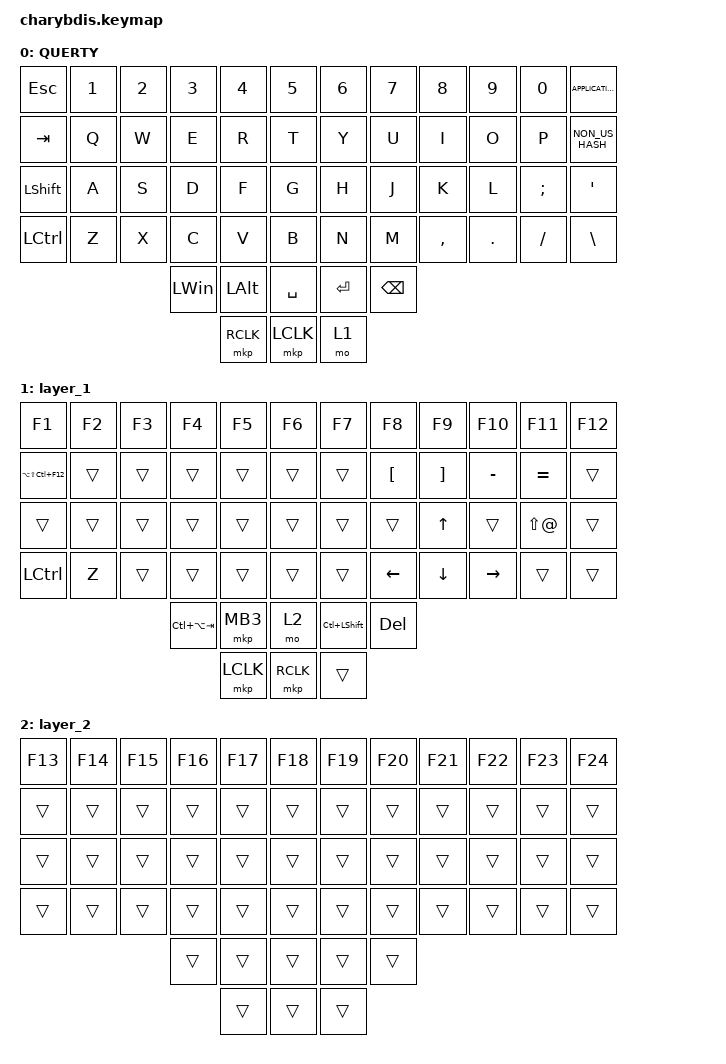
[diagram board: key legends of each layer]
#include "keys_de_swiss.h"
#include <dt-bindings/zmk/mouse.h>
#include <behaviors/mouse_keys.dtsi>
#include <behaviors.dtsi>
#include <dt-bindings/zmk/keys.h>
#include <dt-bindings/zmk/pointing.h>

// / {
//     chosen { zmk,matrix_transform = &default_transform; };
// };

/ {
    /* input config for mouse move mode */

    trackball_listener {
        compatible = "zmk,input-behavior-listener";
        device = <&vtrackball>;
        layers = <0 3 6>;
        evt-type = <INPUT_EV_REL>;
        x-input-code = <INPUT_REL_X>;
        y-input-code = <INPUT_REL_Y>;
        scale-multiplier = <1>;
        scale-divisor = <2>;

        // bindings = <&ib_toggle_layer 7>;
    };

    /* input config for snipe mode */

    trackball_snipe_listener {
        compatible = "zmk,input-behavior-listener";
        device = <&vtrackball>;
        layers = <10>;
        evt-type = <INPUT_EV_REL>;
        x-input-code = <INPUT_REL_X>;
        y-input-code = <INPUT_REL_Y>;
        scale-multiplier = <1>;
        scale-divisor = <4>;
    };

    /* input config for mouse scroll mode */

    trackball_scroll_listener {
        compatible = "zmk,input-behavior-listener";
        device = <&vtrackball>;
        layers = <9>;
        evt-type = <INPUT_EV_REL>;
        x-input-code = <INPUT_REL_MISC>;
        y-input-code = <INPUT_REL_WHEEL>;
        y-invert;
        bindings = <&ib_wheel_scaler 1 14>;
    };

    /* define a resolution down scaler only for INPUT_REL_WHEEL */

    ib_wheel_scaler: ib_wheel_scaler {
        compatible = "zmk,input-behavior-scaler";
        #binding-cells = <2>;
        evt-type = <INPUT_EV_REL>;
        input-code = <INPUT_REL_WHEEL>;
    };

    /* adjust cooldown waiting period for mouse key layer after activated */

    ib_toggle_layer: ib_toggle_layer {
        compatible = "zmk,input-behavior-tog-layer";
        #binding-cells = <1>;
        time-to-live-ms = <750>;
    };

    // #define QUERTZ    0
    // #define NUMBERS   1
    // #define NAV-FUN   2
    // #define MAC       3
    // #define MAC-NUM   4
    // #define MAC-NAV   5
    // #define GAME      6
    // #define GAME-NUM  7
    // #define GAME-NAV  8
    // #define SCROLL    9
    // #define SNIPER   10
    // #define FN       11

    combos {
        compatible = "zmk,combos";

        to-WIN {
            bindings = <&to 0>;
            key-positions = <50 51>;
        };

        to-MAC {
            bindings = <&to 0>;
            key-positions = <50 51>;
            layers = <0>;
        };

        to-GAME {
            bindings = <&to 0>;
            key-positions = <47 36>;
            layers = <0>;
        };

        to-FN {
            bindings = <&to 0>;
            key-positions = <41 42>;
            layers = <0>;
        };

        caps_word {
            bindings = <&caps_word>;
            key-positions = <31 28>;
        };

        rh_leftClick {
            bindings = <&mkp LCLK>;
            key-positions = <43 44>;
        };

        rh_rightClick {
            bindings = <&mkp RCLK>;
            key-positions = <44 45>;
        };

        rh_middleClick {
            bindings = <&mkp MCLK>;
            key-positions = <44 45 43>;
        };

        lh_leftClick {
            bindings = <&mkp LCLK>;
            key-positions = <40 39>;
        };

        lh_rightClick {
            bindings = <&mkp RCLK>;
            key-positions = <38 39>;
        };

        lh_middleClick {
            bindings = <&mkp MCLK>;
            key-positions = <38 39 40>;
        };

        CAPZ {
            bindings = <&kp CAPSLOCK>;
            key-positions = <24 25>;
        };
    };

    behaviors {
        hmr: hmr {
            compatible = "zmk,behavior-hold-tap";
            label = "HMR";
            bindings = <&kp>, <&kp>;

            #binding-cells = <2>;
            tapping-term-ms = <190>;
            quick-tap-ms = <175>;
            flavor = "balanced";
            hold-trigger-key-positions = <0 1 2 3 4 5 12 13 14 15 16 17 24 25 26 27 28 29 36 37 38 39 40 41 48 49 50 53 54 51 52 55>;
            hold-trigger-on-release;
        };

        hml: hml {
            compatible = "zmk,behavior-hold-tap";
            label = "HML";
            bindings = <&kp>, <&kp>;

            #binding-cells = <2>;
            tapping-term-ms = <190>;
            quick-tap-ms = <175>;
            flavor = "balanced";
            hold-trigger-key-positions = <48 49 50 53 54 51 52 55 6 7 8 9 10 11 18 19 20 21 22 23 30 31 32 33 34 35 42 43 44 45 46 47 51 52>;
            hold-trigger-on-release;
        };
    };

    keymap {
        compatible = "zmk,keymap";

        default_win_layer {
            bindings = <
&kp ESCAPE  &kp N1  &kp N2  &kp N3        &kp N4        &kp N5       &kp N6     &kp N7    &kp N8     &kp N9   &kp N0    &kp K_APPLICATION
&kp TAB     &kp Q   &kp W   &kp E         &kp R         &kp T        &kp Y      &kp U     &kp I      &kp O    &kp P     &kp NON_US_HASH
&kp LSHFT   &kp A   &kp S   &kp D         &kp F         &kp G        &kp H      &kp J     &kp K      &kp L    &kp SEMI  &kp SQT
&kp LCTRL   &kp Z   &kp X   &kp C         &kp V         &kp B        &kp N      &kp M     &kp COMMA  &kp DOT  &kp FSLH  &kp BSLH
                            &kp LEFT_WIN  &kp LEFT_ALT  &kp SPACE    &kp ENTER  &kp BSPC
                                          &mkp RCLK     &mkp LCLK    &mo 1
            >;

            label = "QUERTY";
        };

        layer_1 {
            bindings = <
&kp F1               &kp F2  &kp F3  &kp F4           &kp F5     &kp F6       &kp F7              &kp F8      &kp F9    &kp F10    &kp F11     &kp F12
&kp LA(LS(LC(F12)))  &trans  &trans  &trans           &trans     &trans       &trans              &kp LBKT    &kp RBKT  &kp MINUS  &kp EQUAL   &trans
&trans               &trans  &trans  &trans           &trans     &trans       &trans              &trans      &kp UP    &trans     &kp LS(AT)  &trans
&kp LCTRL            &kp Z   &trans  &trans           &trans     &trans       &trans              &kp LEFT    &kp DOWN  &kp RIGHT  &trans      &trans
                                     &kp LC(LA(TAB))  &mkp MB3   &mo 2        &kp LC(LEFT_SHIFT)  &kp DELETE
                                                      &mkp LCLK  &mkp RCLK    &trans
            >;
        };

        layer_2 {
            bindings = <
&kp F13  &kp F14  &kp F15  &kp F16  &kp F17  &kp F18    &kp F19  &kp F20  &kp F21  &kp F22  &kp F23  &kp F24
&trans   &trans   &trans   &trans   &trans   &trans     &trans   &trans   &trans   &trans   &trans   &trans
&trans   &trans   &trans   &trans   &trans   &trans     &trans   &trans   &trans   &trans   &trans   &trans
&trans   &trans   &trans   &trans   &trans   &trans     &trans   &trans   &trans   &trans   &trans   &trans
                           &trans   &trans   &trans     &trans   &trans
                                    &trans   &trans     &trans
            >;
        };
    };
};
